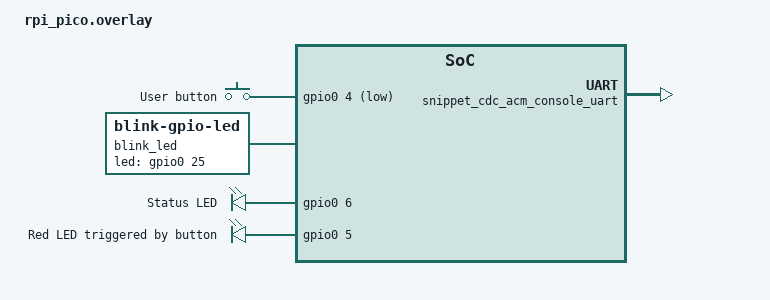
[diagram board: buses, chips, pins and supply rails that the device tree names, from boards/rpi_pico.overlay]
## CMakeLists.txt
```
#-------------------------------------------------------------------------------
# Zephyr Example Application
#
# Copyright (c) 2021 Nordic Semiconductor ASA
# SPDX-License-Identifier: Apache-2.0

cmake_minimum_required(VERSION 3.13.1)
find_package(Zephyr REQUIRED HINTS $ENV{ZEPHYR_BASE})

project(app LANGUAGES C)

target_sources(app PRIVATE src/main.c)
target_sources(app PRIVATE src/led_control.c)
target_sources(app PRIVATE src/console_demo.c)
target_sources(app PRIVATE src/button_control.c)
target_sources(app PRIVATE src/thread_communication.c)
# target_sources(app PRIVATE src/button_demo.c)
```

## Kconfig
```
# Copyright (c) 2021 Nordic Semiconductor ASA
# SPDX-License-Identifier: Apache-2.0
#
# This file is the application Kconfig entry point. All application Kconfig
# options can be defined here or included via other application Kconfig files.
# You can browse these options using the west targets menuconfig (terminal) or
# guiconfig (GUI).

menu "Zephyr"
source "Kconfig.zephyr"
# USB communication
config USB_PID_CONSOLE_SAMPLE
    hex
    default 0x0004
    depends on USB_DEVICE_STACK
config USB_DEVICE_PID
    default USB_PID_CONSOLE_SAMPLE
endmenu

menu "Message queue configuration"
config QUEUE_SIZE
    int "Queue size"
    default 3
    help
      Defines the size of the message queue.

config MSG_BYTESIZE
    int "Message byte size"
    default 24
    help
      Defines the size of the messages in bytes.
endmenu

menu "Sensor logging"
config SENSOR
    bool "Enable logging of (mockup) sensor"
    default n  
    help
        Enables or disables the thread that produces and consumes (mockup) sensor readings
config SENSOR_PERIOD
    int "Sensor measurement period in s. Readout happens immediately after."
    default 10
    help
        Defines the sensor measurement period in s. Readout happens immediately after.
endmenu

# Logging modules
module = MAIN
module-str = main
source "subsys/logging/Kconfig.template.log_config"

module = CONSOLE
module-str = console
source "subsys/logging/Kconfig.template.log_config"

module = LEDCTRL
module-str = ledctrl
source "subsys/logging/Kconfig.template.log_config"

module = BUTTONCTRL
module-str = buttonctrl
source "subsys/logging/Kconfig.template.log_config"

module = MESSAGING
module-str = messaging
source "subsys/logging/Kconfig.template.log_config"
```

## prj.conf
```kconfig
# Copyright (c) 2021 Nordic Semiconductor ASA
# SPDX-License-Identifier: Apache-2.0
#
# This file contains selected Kconfig options for the application.

# User-defined
CONFIG_QUEUE_SIZE=3
CONFIG_MSG_BYTESIZE=24
# enable (mockup) sensor readings with period in s
CONFIG_SENSOR=n
CONFIG_SENSOR_PERIOD=10
# For random number generation
CONFIG_TEST_RANDOM_GENERATOR=y

# General
CONFIG_HEAP_MEM_POOL_SIZE=4096  
CONFIG_GPIO=y
# Enable logging in Zephyr
CONFIG_LOG=y                # Enable the logging subsystem
CONFIG_LOG_DEFAULT_LEVEL=3

# Configure USB communication and console
# VID=USB vendor ID, use a random number
CONFIG_USB_DEVICE_STACK=y
CONFIG_USB_DEVICE_PRODUCT="Zephyr Demo Device"
CONFIG_USB_DEVICE_VID=4440
CONFIG_USB_DEVICE_PID=0x0004
CONFIG_SERIAL=y
CONFIG_CONSOLE=y
CONFIG_UART_CONSOLE=y
CONFIG_UART_LINE_CTRL=y
CONFIG_SHELL_BACKEND_SERIAL_CHECK_DTR=y
CONFIG_USB_CDC_ACM_LOG_LEVEL_OFF=y
CONFIG_USB_DEVICE_INITIALIZE_AT_BOOT=n

# Enable shell using minimal conf and overlay-usb.confss
CONFIG_PRINTK=y
CONFIG_SHELL=y
CONFIG_SHELL_STACK_SIZE=2048
CONFIG_SHELL_BACKEND_SERIAL=y
# Enable use of built-in shell commands such as clear etc.
CONFIG_SHELL_CMDS=y
# Enable use of tab for command completion
CONFIG_SHELL_TAB=y

# Threading
CONFIG_THREAD_MONITOR=y
CONFIG_INIT_STACKS=y
CONFIG_BOOT_BANNER=n
CONFIG_THREAD_NAME=y
CONFIG_CBPRINTF_NANO=y

# POSIX_TIMERS requires an embedded C library while the native USB driver is incompatible with it.
# So let's disable it. Once USB_NATIVE_POSIX supports embedded C libraries this can be removed.
CONFIG_POSIX_API=n
CONFIG_POSIX_TIMERS=n
# DATE_SHELL requires POSIX_TIMERS
CONFIG_DATE_SHELL=n
```

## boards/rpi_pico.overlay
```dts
/*
 * Copyright (c) 2021 Nordic Semiconductor ASA
 * SPDX-License-Identifier: Apache-2.0
 */

/* This devicetree overlay file will be automatically picked by the Zephyr
 * build system when building the sample for the RP Pico. It shows
 * how the example-application can be built on sample boards already provided
 * by Zephyr.
 */
/{
	aliases {
		sw0 = &button0; // Button alias used throughout the code
		led = &status_led;
	};

	buttons {
        compatible = "gpio-keys";  // Compatible with gpio-keys driver
        button0: button_0 {
            gpios = < &gpio0 4 (GPIO_PULL_UP | GPIO_ACTIVE_LOW) >;  // Button at GPIO 4
            label = "User button";
        };
    };

	blink_led: blink-led {
		compatible = "blink-gpio-led";
		led-gpios = <&gpio0 25 GPIO_ACTIVE_HIGH>;
		blink-period-ms = <1000>;
	};

	leds{
		compatible = "gpio-leds";
		status_led:status-led{
			gpios = <&gpio0 6 GPIO_ACTIVE_HIGH>;
			label = "Status LED";
		};

		button_led:button-led{
			gpios = <&gpio0 5 GPIO_ACTIVE_HIGH>;
			label = "Red LED triggered by button";
		};
	};
};

&gpio0 {
	status = "okay";
};

/* Shell console using USB
*
*/
/ {
	chosen {
		zephyr,console = &snippet_cdc_acm_console_uart;
		zephyr,shell-uart = &snippet_cdc_acm_console_uart;
	};
};

&zephyr_udc0 {
	snippet_cdc_acm_console_uart: snippet_cdc_acm_console_uart {
		compatible = "zephyr,cdc-acm-uart";
	};
};
```

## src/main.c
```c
/*
 * Copyright (c) 2016 Intel Corporation
 *
 * SPDX-License-Identifier: Apache-2.0
 */

#include <stdio.h>
#include <string.h>
#include <stdlib.h>
#include <ctype.h>

// Zephyr-specific libs
#include <zephyr/kernel.h>
#include <zephyr/drivers/gpio.h>
#include <zephyr/logging/log.h>
#include <zephyr/sys/printk.h>
#include <zephyr/sys/util.h>
#include <zephyr/usb/usb_device.h>
#include <zephyr/drivers/uart.h>

// Shell libs
#include <zephyr/kernel.h>
#include <zephyr/shell/shell.h>
#include <zephyr/version.h>

// Own code
#include "led_control.h"
#include "console_demo.h"
#include "button_control.h"
#include "thread_communication.h"

/* 1000 msec = 1 sec */
#define SLEEP_TIME_MS 20

/*
 * Ensure that an overlay for USB serial has been defined.
 */
BUILD_ASSERT(DT_NODE_HAS_COMPAT(DT_CHOSEN(zephyr_console), zephyr_cdc_acm_uart),
			 "Console device is not ACM CDC UART device");

LOG_MODULE_REGISTER(main, CONFIG_MAIN_LOG_LEVEL); // registers the log level for the module MAIN specified in Kconfig

int main(void)
{
	LOG_INF("Program starting\n"); // example info message
	// Init the LED devices in logic 1 state
	if (init_leds())
	{
		LOG_ERR("LEDs could not be initialised!");
	}
	else
	{
		LOG_INF("LED devices initialised properly");
	}

	// Button config
	if (init_button())
	{
		LOG_ERR("Button init failed!");
	}
	else
	{
		LOG_INF("Button init successful!");
	}

	// Shell config
	const struct device *dev;
	uint32_t dtr = 0;
	dev = DEVICE_DT_GET(DT_CHOSEN(zephyr_shell_uart));
	if (!device_is_ready(dev) || usb_enable(NULL))
	{
		return 0;
	}
	// while (!dtr) // wait for shell device to be ready
	// {
	uart_line_ctrl_get(dev, UART_LINE_CTRL_DTR, &dtr);
	k_sleep(K_MSEC(100));
	// }
	LOG_INF("USB device configured and connected");

	init_ll(); // init linked list

	// Wait in this loop for shell commands or process messages
	while (true)
	{
		/* If we have an LED, match its state to the button's. */
		int val = gpio_pin_get_dt(&button);

		if (val >= 0)
		{
			gpio_pin_set_dt(&button_led, val);
		}
		k_msleep(SLEEP_TIME_MS); /* sleep x ms*/
	}
	return 0;
}
```

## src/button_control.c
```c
#include "button_control.h"

//// ----------- BUTTON CONTROL -------------------------------------------------------
#define DEBOUNCE_DELAY_MS 15                               // Debounce delay in milliseconds
#define LONGPRESS_OFFSET_MS 1000                           // if x ms after button press is detected the state did not change -> longpress detected
#define LONGPRESS_ACTION_MS 200                            // while having longpress, in intervals of x ms do action y
LOG_MODULE_REGISTER(buttonctrl, CONFIG_LOG_DEFAULT_LEVEL); // Registers the log level for the module

/*
 * Get button configuration from the devicetree sw0 alias. This is mandatory.
 */
const struct gpio_dt_spec button = GPIO_DT_SPEC_GET_OR(SW0_NODE, gpios,
                                                       {0});
struct gpio_callback button_cb_data;
// Declare kernel work item
static struct k_work_delayable button_work;
static struct k_work_delayable longpress_work;

static char *helper_button_evt_str(enum button_evt evt)
{
    switch (evt)
    {
    case BUTTON_EVT_PRESSED:
        return "Pressed";
    case BUTTON_EVT_RELEASED:
        return "Released";
    default:
        return "Unknown";
    }
}

// Function to handle the work (debounce timer expiration)
static void button_work_handler(struct k_work *work)
{
    ARG_UNUSED(work);
    int val = gpio_pin_get_dt(&button);
    enum button_evt evt = val ? BUTTON_EVT_PRESSED : BUTTON_EVT_RELEASED;
    LOG_INF("Button event: %s\n", helper_button_evt_str(evt));
    if (evt == BUTTON_EVT_PRESSED)
    {
        k_work_reschedule(&longpress_work, K_MSEC(LONGPRESS_OFFSET_MS));
    }
    else
    {
        k_work_cancel_delayable(&longpress_work); // on release, clear longpress queue
    }
}

// Long press handler
static void longpress_work_handler(struct k_work *work)
{
    ARG_UNUSED(work);
    LOG_INF("long press detected");
}

void button_isr(const struct device *dev, struct gpio_callback *cb,
                uint32_t pins)
{
    // LOG_INF("Button pressed at %" PRIu32 "", k_cycle_get_32());
    // Check if work queue has some pending work (button already being debounced)
    if (k_work_delayable_is_pending(&button_work))
    {
        LOG_INF("Rescheduling debounce timer due to edge detection.");
        // Cancel ongoing work and reschedule debounce timer
        k_work_cancel_delayable(&button_work);
    }
    else
    {
        LOG_INF("Starting debounce timer.");
    }
    // Reschedule debounce work for DEBOUNCE_DELAY_MS
    k_work_reschedule(&button_work, K_MSEC(DEBOUNCE_DELAY_MS));
}

// Initialise button
int init_button()
{
    int ret;
    if (!gpio_is_ready_dt(&button))
    {
        LOG_ERR("Error: button device %s is not ready\n",
                button.port->name);
        return 1;
    }

    ret = gpio_pin_configure_dt(&button, GPIO_INPUT);
    if (ret != 0)
    {
        LOG_ERR("Error %d: failed to configure %s pin %d",
                ret, button.port->name, button.pin);
        return 1;
    }

    ret = gpio_pin_interrupt_configure_dt(&button,
                                          GPIO_INT_EDGE_BOTH);
    if (ret != 0)
    {
        LOG_ERR("Error %d: failed to configure interrupt on %s pin %d",
                ret, button.port->name, button.pin);
        return 1;
    }

    gpio_init_callback(&button_cb_data, button_isr, BIT(button.pin));
    gpio_add_callback(button.port, &button_cb_data);
    // Initialize delayed work
    k_work_init_delayable(&button_work, button_work_handler);
    k_work_init_delayable(&longpress_work, longpress_work_handler);
    LOG_INF("Set up button at %s pin %d", button.port->name, button.pin);
    return 0;
}
```

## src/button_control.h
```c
#ifndef BUTTON_CONTROL_H
#define BUTTON_CONTROL_H

#include <zephyr/kernel.h>
#include <zephyr/device.h>
#include <zephyr/drivers/gpio.h>
#include <zephyr/sys/util.h>
#include <zephyr/sys/printk.h>
#include <zephyr/logging/log.h>
#include <inttypes.h>

#define SW0_NODE DT_ALIAS(sw0)
#if !DT_NODE_HAS_STATUS_OKAY(SW0_NODE)
#error "Unsupported board: sw0 devicetree alias is not defined"
#endif

extern const struct gpio_dt_spec button;
extern struct gpio_callback button_cb_data;

enum button_evt
{
    BUTTON_EVT_PRESSED,
    BUTTON_EVT_RELEASED
};

// Function declarations
static char *helper_button_evt_str(enum button_evt evt);
void button_isr(const struct device *dev, struct gpio_callback *cb,
                uint32_t pins);
static void button_work_handler(struct k_work *work);
static void longpress_work_handler(struct k_work *work);
int init_button(void);

#endif // BUTTON_CONTROL_H
```

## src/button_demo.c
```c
/*
 * Copyright (c) 2016 Open-RnD Sp. z o.o.
 * Copyright (c) 2020 Nordic Semiconductor ASA
 *
 * SPDX-License-Identifier: Apache-2.0
 */

#include <zephyr/kernel.h>
#include <zephyr/device.h>
#include <zephyr/drivers/gpio.h>
#include <zephyr/sys/util.h>
#include <zephyr/sys/printk.h>
#include <inttypes.h>

#define SLEEP_TIME_MS 1

LOG_MODULE_REGISTER(btnctrl, CONFIG_LOG_DEFAULT_LEVEL); // Registers the log level for the module

/*
 * Get button configuration from the devicetree sw0 alias. This is mandatory.
 */
#define SW0_NODE DT_ALIAS(sw0)
#if !DT_NODE_HAS_STATUS_OKAY(SW0_NODE)
#error "Unsupported board: sw0 devicetree alias is not defined"
#endif
static const struct gpio_dt_spec button = GPIO_DT_SPEC_GET_OR(SW0_NODE, gpios,
															  {0});
static struct gpio_callback button_cb_data;

/*
 * The led0 devicetree alias is optional. If present, we'll use it
 * to turn on the LED whenever the button is pressed.
 */
static struct gpio_dt_spec led = GPIO_DT_SPEC_GET_OR(DT_ALIAS(led0), gpios,
													 {0});

void button_pressed(const struct device *dev, struct gpio_callback *cb,
					uint32_t pins)
{
	printk("Button pressed at %" PRIu32 "\n", k_cycle_get_32());
}

int main(void)
{
	int ret;

	// Shell config
	const struct device *dev;
	uint32_t dtr = 0;
	dev = DEVICE_DT_GET(DT_CHOSEN(zephyr_shell_uart));
	if (!device_is_ready(dev) || usb_enable(NULL))
	{
		return 0;
	}
	while (!dtr) // wait for shell device to be ready
	{
		uart_line_ctrl_get(dev, UART_LINE_CTRL_DTR, &dtr);
		k_sleep(K_MSEC(100));
	}
	printk("USB device configured and connected\n");

	if (!gpio_is_ready_dt(&button))
	{
		printk("Error: button device %s is not ready\n",
			   button.port->name);
		return 0;
	}

	ret = gpio_pin_configure_dt(&button, GPIO_INPUT);
	if (ret != 0)
	{
		printk("Error %d: failed to configure %s pin %d\n",
			   ret, button.port->name, button.pin);
		return 0;
	}

	ret = gpio_pin_interrupt_configure_dt(&button,
										  GPIO_INT_EDGE_TO_ACTIVE);
	if (ret != 0)
	{
		printk("Error %d: failed to configure interrupt on %s pin %d\n",
			   ret, button.port->name, button.pin);
		return 0;
	}

	gpio_init_callback(&button_cb_data, button_pressed, BIT(button.pin));
	gpio_add_callback(button.port, &button_cb_data);
	printk("Set up button at %s pin %d\n", button.port->name, button.pin);

	if (led.port && !gpio_is_ready_dt(&led))
	{
		printk("Error %d: LED device %s is not ready; ignoring it\n",
			   ret, led.port->name);
		led.port = NULL;
	}
	if (led.port)
	{
		ret = gpio_pin_configure_dt(&led, GPIO_OUTPUT);
		if (ret != 0)
		{
			printk("Error %d: failed to configure LED device %s pin %d\n",
				   ret, led.port->name, led.pin);
			led.port = NULL;
		}
		else
		{
			printk("Set up LED at %s pin %d\n", led.port->name, led.pin);
		}
	}

	printk("Press the button\n");
	if (led.port)
	{
		while (1)
		{
			/* If we have an LED, match its state to the button's. */
			int val = gpio_pin_get_dt(&button);

			if (val >= 0)
			{
				gpio_pin_set_dt(&led, val);
			}
			k_msleep(SLEEP_TIME_MS);
		}
	}
	return 0;
}
```

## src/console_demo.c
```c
#include <zephyr/kernel.h>
#include <zephyr/shell/shell.h>
#include <zephyr/sys/printk.h>
#include <zephyr/sys/util.h>
#include <zephyr/logging/log.h>
#include "console_demo.h"

LOG_MODULE_REGISTER(console_demo, CONFIG_LOG_DEFAULT_LEVEL); // Registers the log level for the console_demo module

// Example shell command handler
// Prints "pong" as a response to "ping" request
int cmd_demo_ping(const struct shell *sh, size_t argc, char **argv)
{
    ARG_UNUSED(argc);
    ARG_UNUSED(argv);

    shell_print(sh, "pong");

    return 0;
}

// Print out command with provided arguments
int cmd_demo_params(const struct shell *sh, size_t argc, char **argv)
{
    shell_print(sh, "argc = %zd", argc);
    for (size_t cnt = 0; cnt < argc; cnt++)
    {
        shell_print(sh, "  argv[%zd] = %s", cnt, argv[cnt]);
    }

    return 0;
}

// Register shell commands
SHELL_CMD_REGISTER(ping, NULL, "Respond with pong", cmd_demo_ping);
SHELL_CMD_REGISTER(params, NULL, "Print params command.", cmd_demo_params);
```

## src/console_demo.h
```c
#ifndef CONSOLE_DEMO_H
#define CONSOLE_DEMO_H

#include <zephyr/kernel.h>
#include <zephyr/shell/shell.h>

// Function declarations for the shell command handlers
int cmd_demo_ping(const struct shell *sh, size_t argc, char **argv);
int cmd_demo_params(const struct shell *sh, size_t argc, char **argv);

#endif /* CONSOLE_DEMO_H */
```

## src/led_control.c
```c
#include "led_control.h"

/// -----------  LED CONTROL -------------------------------------------------------
LOG_MODULE_REGISTER(ledctrl, CONFIG_LOG_DEFAULT_LEVEL); // Registers the log level for the module

// Init work items
int blink_period = 500; // in ms
struct k_work_delayable led_work;

/*
 * A build error on this line means your board is unsupported.
 * See the sample documentation for information on how to fix this.
 */
const struct gpio_dt_spec status_led = GPIO_DT_SPEC_GET(STATUS_LED_NODE, gpios); // onboard LED device
const struct gpio_dt_spec button_led = GPIO_DT_SPEC_GET(BUTTON_LED_NODE, gpios); // red LED

// initialise all LED devices
int init_leds()
{
    int ret;
    if (!gpio_is_ready_dt(&status_led))
    {
        return 0;
    }
    ret = gpio_pin_configure_dt(&status_led, GPIO_OUTPUT_ACTIVE);
    if (ret < 0)
    {
        return 0;
    }
    // Init the red LED that will react to the button
    if (!gpio_is_ready_dt(&button_led))
    {
        return 0;
    }
    ret = gpio_pin_configure_dt(&button_led, GPIO_OUTPUT_INACTIVE);
    if (ret < 0)
    {
        return 0;
    }
    return 0;
}

void led_blink_work(struct k_work *work)
{
    // Toggle LED
    int ret;
    ret = gpio_pin_toggle_dt(&status_led);
    // Reschedule the work to be done again in half of the period ms
    k_work_reschedule(&led_work, K_MSEC(blink_period / 2)); // provide time as k_ticks_t using the macro for conversion
}

// Stop the blink work
void stop_blinking()
{
    int ret = k_work_cancel_delayable(&led_work);
    if (ret == 0)
    {
        LOG_INF("Blinking stopped successfully.");
    }
    else if (ret == -EALREADY)
    {
        LOG_INF("Blinking was already stopped."); // delete if not needed
    }
    else
    {
        LOG_ERR("Failed to stop blinking.");
    }
}

int cmd_led_on(const struct shell *sh, size_t argc, char **argv)
{
    // Stop blinking first
    stop_blinking();

    // Turn ON LED
    int response = gpio_pin_set_dt(&status_led, 1);
    if (response < 0)
    {
        return 1;
    }
    LOG_INF("LED ON");
    return 0;
}

int cmd_led_off(const struct shell *sh, size_t argc, char **argv)
{
    // Stop blinking first
    stop_blinking();
    // Turn OFF LED
    int response = gpio_pin_set_dt(&status_led, 0);
    if (response < 0)
    {
        return 1;
    }
    LOG_INF("LED OFF\n");
    return 0;
}

// Blink the led with a set period in ms
int cmd_led_blink(const struct shell *sh, size_t argc, char **argv)
{
    // TODO handle negative numbers or no numbers at all
    blink_period = atoi(argv[1]); // store the argument in global variable
    if (blink_period > 0)
    {
        stop_blinking(); // stop previous work processing to react to new command exec
        LOG_INF("Starting to blink with period %d ms", blink_period);
        k_work_init_delayable(&led_work, led_blink_work);
        k_work_schedule(&led_work, K_NO_WAIT); // schedule the first execution to start immediately
    }
    else
    {
        LOG_ERR("Setting blink period not successful");
        return 1;
    };
    return 0;
}

// Register commands
SHELL_CMD_REGISTER(led_on, NULL, "Turn the LED ON", cmd_led_on);
SHELL_CMD_REGISTER(led_off, NULL, "Turn the LED OFF", cmd_led_off);
SHELL_CMD_ARG_REGISTER(led_blink, NULL, "Blink the LED with a defined period in ms.", cmd_led_blink, 2, NULL); // 2 mandatory args - the command name and ther period
```

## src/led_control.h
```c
#ifndef LED_CONTROL_H
#define LED_CONTROL_H

#include <zephyr/kernel.h>
#include <zephyr/drivers/gpio.h>
#include <zephyr/shell/shell.h>
#include <zephyr/logging/log.h>
#include <stdlib.h>

// Define the LED0_NODE alias for the onboard LED
// #define LED0_NODE DT_ALIAS(led0)
#define STATUS_LED_NODE DT_NODELABEL(status_led)
#define BUTTON_LED_NODE DT_NODELABEL(button_led)

extern int blink_period;
extern struct k_work_delayable led_work;
extern const struct gpio_dt_spec status_led;
extern const struct gpio_dt_spec button_led;

// Function declarations
int init_leds(void);
void led_blink_work(struct k_work *work);
void stop_blinking(void);
int cmd_led_on(const struct shell *sh, size_t argc, char **argv);
int cmd_led_off(const struct shell *sh, size_t argc, char **argv);
int cmd_led_blink(const struct shell *sh, size_t argc, char **argv);
#endif // LED_CONTROL_H
```

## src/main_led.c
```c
/*
 * Copyright (c) 2016 Intel Corporation
 *
 * SPDX-License-Identifier: Apache-2.0
 */

#include <stdio.h>
#include <string.h>
#include <stdlib.h>
#include <ctype.h>


// Zephyr-specific libs
#include <zephyr/kernel.h>
#include <zephyr/drivers/gpio.h>
#include <zephyr/logging/log.h>
#include <zephyr/sys/printk.h>
#include <zephyr/sys/util.h>
#include <zephyr/usb/usb_device.h>
#include <zephyr/drivers/uart.h>

// Shell libs
#include <zephyr/kernel.h>
#include <zephyr/shell/shell.h>
#include <zephyr/version.h>

/* 1000 msec = 1 sec */
#define SLEEP_TIME_MS   500

/* The devicetree node identifier for the "led0" alias. */
#define LED0_NODE DT_ALIAS(led0)

/*
 * Ensure that an overlay for USB serial has been defined.
 */
BUILD_ASSERT(DT_NODE_HAS_COMPAT(DT_CHOSEN(zephyr_console), zephyr_cdc_acm_uart),
	    "Console device is not ACM CDC UART device");

LOG_MODULE_REGISTER(main, CONFIG_MAIN_LOG_LEVEL); // registers the log level for the module MAIN specified in Kconfig

/*
 * A build error on this line means your board is unsupported.
 * See the sample documentation for information on how to fix this.
 */
static const struct gpio_dt_spec led = GPIO_DT_SPEC_GET(LED0_NODE, gpios);

// Example shell command handler
static int cmd_demo_ping(const struct shell *sh, size_t argc, char **argv)
{
	ARG_UNUSED(argc);
	ARG_UNUSED(argv);

	shell_print(sh, "pong");

	return 0;
}

// Register commands
SHELL_CMD_REGISTER(ping, NULL, "Respond with pong", cmd_demo_ping);

int main(void)
{
	// Configure USB Serial for Console output
	const struct device *usb_dev = DEVICE_DT_GET(DT_CHOSEN(zephyr_console));
	uint32_t dtr = 0;

	if (usb_enable(NULL)) {
		return 1;
	}

	// Sleep to wait for a terminal connection. To wait until connected, comment out
	// these two lines and uncomment the while below.
	k_sleep(K_MSEC(2500));
	uart_line_ctrl_get(usb_dev, UART_LINE_CTRL_DTR, &dtr);



    LOG_INF("Program starting"); // example info message
	int ret;
	bool led_state = true;

	if (!gpio_is_ready_dt(&led)) {
		return 0;
	}

	ret = gpio_pin_configure_dt(&led, GPIO_OUTPUT_ACTIVE);
	if (ret < 0) {
		return 0;
	}

	while (1) {
		ret = gpio_pin_toggle_dt(&led);
		if (ret < 0) {
			return 0;
		}

		led_state = !led_state;
		printk("LED state: %s\n", led_state ? "ON" : "OFF");
		k_msleep(SLEEP_TIME_MS);
	}
	return 0;
}
```

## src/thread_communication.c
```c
#include "thread_communication.h"

//// ----------- Thread communication example -------------------------------------------------------
LOG_MODULE_REGISTER(messaging, CONFIG_LOG_DEFAULT_LEVEL); // Registers the log level for the module

// Message queue declaration using project settings
K_MSGQ_DEFINE(msg_queue, CONFIG_MSG_BYTESIZE, CONFIG_QUEUE_SIZE, 4); // msg queue aligned to 4 bytes
K_FIFO_DEFINE(fifo_queue);                                           // FIFO, There is no limit to the number of items that may be queued.
K_FIFO_DEFINE(sensor_queue);                                         // FIFO, There is no limit to the number of items that may be queued.

// Thread stack sizes
#define STACK_SIZE 1024

// Thread priorities
#define PRODUCER_PRIORITY 7
#define CONSUMER_PRIORITY 7

// Spawn thread(s) for (mockup) sensor readings
#ifdef CONFIG_SENSOR
K_THREAD_DEFINE(sensor_producer_tid, STACK_SIZE, sensor_producer_thread, NULL, NULL, NULL,
                PRODUCER_PRIORITY, 0, 0);
K_THREAD_DEFINE(sensor_consumer_tid, STACK_SIZE, sensor_consumer_thread, NULL, NULL, NULL,
                CONSUMER_PRIORITY, 0, 0);
#endif // CONFIG_SENSOR

int msg_counter = 0;    // count total number of sent FIFO messages (no reset)
int sensor_counter = 0; // count total number of values sent by a mockup sensor
const char *static_message = "static message example";
sys_slist_t linked_list;

// ----- Thread communication demo ------------------------------------------
//  Mockup sensor producing data in FIFO
void sensor_producer_thread(void)
{
    while (1)
    {
        // Allocate memory for the message from the heap
        struct sensor_data_t *sensor_msg = k_malloc(sizeof(struct sensor_data_t));
        if (sensor_msg == NULL)
        {
            LOG_ERR("Failed to allocate memory for sensor message");
            continue;
        }
        sensor_msg->msg_counter = sensor_counter;
        sensor_msg->value = sys_rand32_get() % 101; // Get random 32-bit number 0-100
        k_fifo_put(&sensor_queue, sensor_msg);      // send message to sensor FIFO
        LOG_INF("Sensor recorded value nr. %d", sensor_counter);
        ++sensor_counter;
        k_sleep(K_SECONDS(10));
    }
}

// Consumer thread for FIFO
void sensor_consumer_thread(void)
{
    struct sensor_data_t *sensor_rx;
    while (1)
    {
        sensor_rx = k_fifo_get(&sensor_queue, K_FOREVER);                                // wait until message is obtained
        LOG_INF("Sensor value nr. %d: %d ly", sensor_rx->msg_counter, sensor_rx->value); // light years units :-)
        // Free the memory after processing the message
        k_free(sensor_rx);
        k_sleep(K_MSEC(100));
    }
}

// ------ COMMANDS ------------------------------------------------

int cmd_send_msgq(const struct shell *sh, size_t argc, char **argv)
{
    int ret = k_msgq_put(&msg_queue, argv[1], K_NO_WAIT); // K_NO_WAIT if sending in any case, K_FOREVER for waiting if can't be sent
    if (ret == 0)
    {
        LOG_INF("MSGQ new message sent. %d/%d in total. ", k_msgq_num_used_get(&msg_queue), CONFIG_QUEUE_SIZE);
    }
    else if ((k_msgq_num_used_get(&msg_queue)) == CONFIG_QUEUE_SIZE)
    {
        LOG_ERR("MSGQ full. Message not sent.");
    }
    else
    {
        LOG_ERR("MSGQ failed to send message");
    }
    return 0;
}

int cmd_read_msgq(const struct shell *sh, size_t argc, char **argv)
{
    char received_msg[CONFIG_MSG_BYTESIZE];                     // for storage of received chars
    int ret = k_msgq_get(&msg_queue, &received_msg, K_NO_WAIT); // alternatively K_FOREVER but here it would freeze
    if (ret == 0)
    {
        LOG_INF("MSGQ received \"%s\"\tIn queue remain: [%d]", received_msg, k_msgq_num_used_get(&msg_queue));
    }
    else if ((k_msgq_num_used_get(&msg_queue)) == 0)
    {
        LOG_INF("MSGQ empty");
    }
    else
    {
        LOG_ERR("MSGQ failed to receive message");
    }
    return 0;
}

int cmd_send_fifo(const struct shell *sh, size_t argc, char **argv)
{
    // Allocate memory for the message from the heap
    struct data_item_t *fifo_message = k_malloc(sizeof(struct data_item_t));
    if (fifo_message == NULL)
    {
        LOG_ERR("Failed to allocate memory for FIFO message");
    }
    fifo_message->msg_counter = msg_counter;
    strncpy(fifo_message->info, argv[1], sizeof(fifo_message->info) - 1);
    fifo_message->info[sizeof(fifo_message->info) - 1] = '\0'; // null termiantion
    k_fifo_put(&fifo_queue, fifo_message);                     // send message to FIFO
    LOG_INF("Message %d saved to FIFO", msg_counter);
    ++msg_counter;
    return 0;
}

int cmd_read_fifo(const struct shell *sh, size_t argc, char **argv)
{
    struct data_item_t *fifo_received;
    fifo_received = k_fifo_get(&fifo_queue, K_NO_WAIT);
    if (fifo_received == NULL)
    {
        LOG_INF("FIFO empty");
    }
    else
    {
        LOG_INF("Read FIFO msg nr. %d \"%s\"", fifo_received->msg_counter, fifo_received->info);
    }
    k_free(fifo_received);
    return 0;
}

// init linked list
void init_ll(void)
{
    sys_slist_init(&linked_list); // initialise the linked list
}

// store in linked list
int cmd_send_ll(const struct shell *sh, size_t argc, char **argv)
{
    struct list_node_t *new_node = k_malloc(sizeof(struct list_node_t));
    if (!new_node)
    {
        LOG_ERR("Linked list node memory allocation failed!");
    }
    strncpy(new_node->info, argv[1], sizeof(new_node->info) - 1);
    new_node->info[sizeof(new_node->info) - 1] = '\0'; // null termiantion
    sys_slist_append(&linked_list, &new_node->next);
    LOG_INF("Linked list node appended. %d nodes in total.", sys_slist_len(&linked_list));
    return 0;
}

// read from linked list
int cmd_read_ll(const struct shell *sh, size_t argc, char **argv)
{
    struct list_node_t *p_node = sys_slist_get(&linked_list); // Fetch and remove the first node of the given list
    if (p_node == NULL)
    {
        LOG_INF("Linked list empty");
    }
    else
    {
        LOG_INF("Read list node with message \"%s\"", p_node->info);
    }
    k_free(p_node);
    return 0;
}

// Register commands
SHELL_CMD_ARG_REGISTER(send_msgq, NULL, "Send a message to MSGQ", cmd_send_msgq, 2, NULL); // 2 mandatory args - the command name and ther message itself
SHELL_CMD_REGISTER(read_msgq, NULL, "Read first (oldest) message from MSGQ", cmd_read_msgq);

SHELL_CMD_ARG_REGISTER(send_fifo, NULL, "Send a message to FIFO message queue", cmd_send_fifo, 2, NULL); // 2 mandatory args - the command name and ther message itself
SHELL_CMD_REGISTER(read_fifo, NULL, "Read first (oldest) message from the FIFO queue", cmd_read_fifo);

SHELL_CMD_ARG_REGISTER(send_ll, NULL, "Send a message to linked list", cmd_send_ll, 2, NULL); // 2 mandatory args - the command name and ther message itself
SHELL_CMD_REGISTER(read_ll, NULL, "Read message from the linked list", cmd_read_ll);
```

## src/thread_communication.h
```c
#ifndef THREAD_COMMUNICATION_H
#define THREAD_COMMUNICATION_H

#include <zephyr/kernel.h>
#include <zephyr/sys/printk.h>
#include <zephyr/sys/slist.h>
#include <zephyr/logging/log.h>
#include <zephyr/shell/shell.h>
#include <zephyr/random/rand32.h> // For sys_rand32_get()
#include <string.h>

extern int msg_counter;
extern int sensor_counter;
extern const char *static_message;

struct data_item_t
{
    void *fifo_reserved; /* 1st word reserved for use by FIFO */
    int msg_counter;
    char info[50]; // set to a fixed max. length
};

struct sensor_data_t
{
    void *fifo_reserved; /* 1st word reserved for use by FIFO */
    int msg_counter;
    u_int32_t value; // mockup sensor value
};

// // Linked list and node
extern sys_slist_t linked_list; // for nodes storage
struct list_node_t
{
    struct sys_snode_t *next; // pointer to the next node
    char info[50];
};

// Functions
void sensor_producer_thread(void);
void sensor_consumer_thread(void);

int cmd_send_msgq(const struct shell *sh, size_t argc, char **argv);
int cmd_read_msgq(const struct shell *sh, size_t argc, char **argv);

int cmd_send_fifo(const struct shell *sh, size_t argc, char **argv);
int cmd_read_fifo(const struct shell *sh, size_t argc, char **argv);

int cmd_send_ll(const struct shell *sh, size_t argc, char **argv);
int cmd_read_ll(const struct shell *sh, size_t argc, char **argv);

#endif // THREAD_COMMUNICATION_H
```
